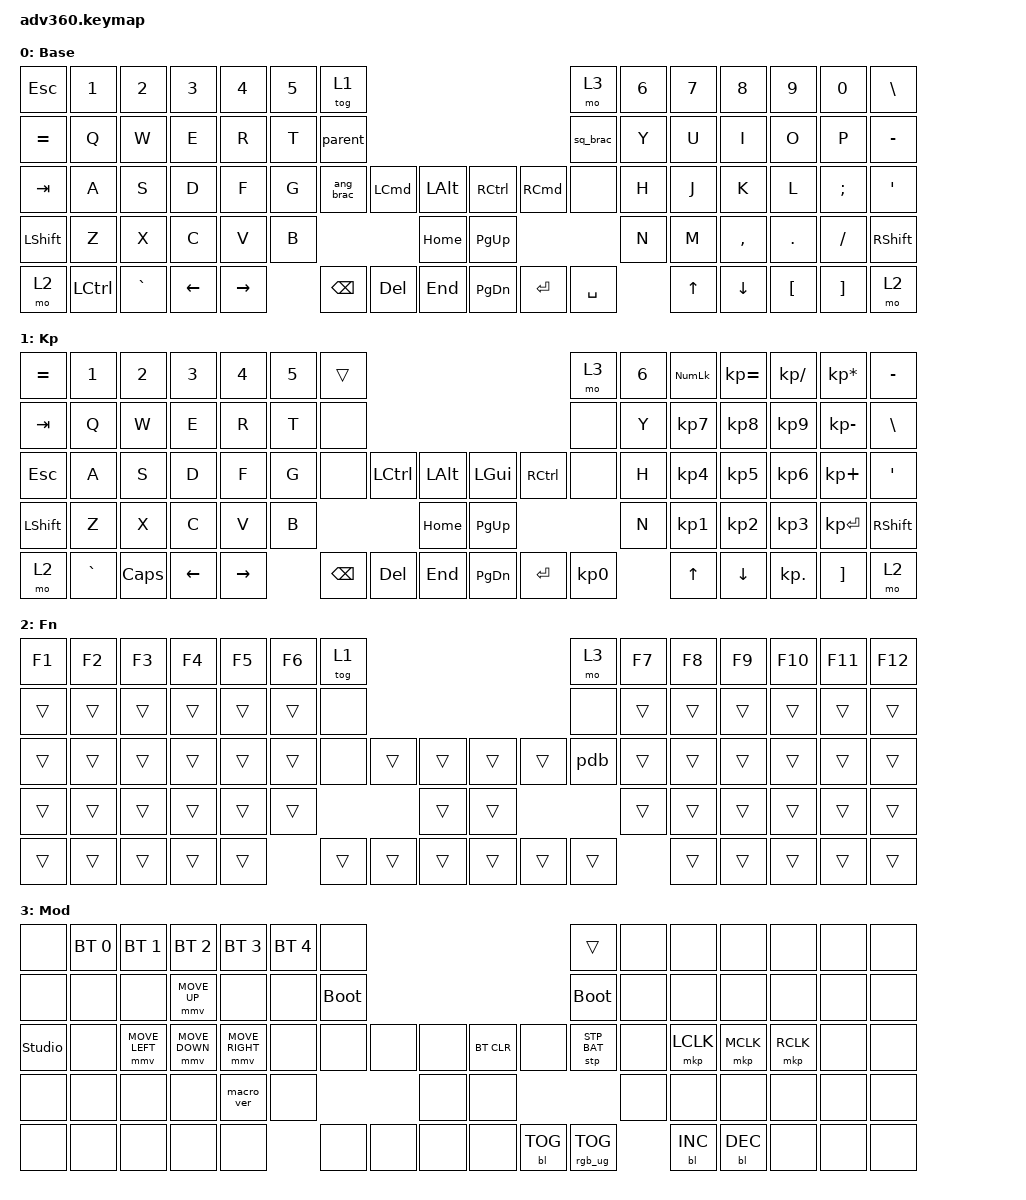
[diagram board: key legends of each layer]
#include <dt-bindings/zmk/stp.h>
#include <behaviors.dtsi>
#include <dt-bindings/zmk/backlight.h>
#include <dt-bindings/zmk/bt.h>
#include <dt-bindings/zmk/keys.h>
#include <dt-bindings/zmk/pointing.h>
#include <dt-bindings/zmk/rgb.h>

/ {
    behaviors {
        #include "macros.dtsi"
      #include "version.dtsi"

        hm: homerow_mods {
            compatible = "zmk,behavior-hold-tap";
            label = "HOMEROW_MODS";
            #binding-cells = <2>;
            tapping-term-ms = <200>;
            quick_tap_ms = <175>;
            flavor = "tap-preferred";
            bindings = <&kp>, <&kp>;
        };
    };

    macros {
        parent: parent {
            compatible = "zmk,behavior-macro";
            #binding-cells = <0>;
            bindings = <&kp LPAR &kp RPAR>;
            label = "PARENT";
        };

        sq_brac: sq_brac {
            compatible = "zmk,behavior-macro";
            #binding-cells = <0>;
            bindings = <&kp LBKT &kp RBKT>;
            label = "SQ_BRAC";
        };

        ang_brac: ang_brac {
            compatible = "zmk,behavior-macro";
            #binding-cells = <0>;
            bindings = <&kp LT &kp GT>;
            label = "ANG_BRAC";
        };

        brac: brac {
            compatible = "zmk,behavior-macro";
            #binding-cells = <0>;
            bindings = <&kp LBRC &kp RBRC>;
            label = "BRAC";
        };

        pdb: pdb {
            compatible = "zmk,behavior-macro";
            #binding-cells = <0>;
            bindings = <&kp I &kp M &kp P &kp O &kp R &kp T &kp SPACE &kp I &kp P &kp D &kp B &kp SEMI &kp SPACE &kp I &kp P &kp D &kp B &kp DOT &kp S &kp E &kp T &kp UNDER &kp T &kp R &kp A &kp C &kp E &kp LPAR &kp RPAR>;
            label = "PDB";
        };
    };

    keymap {
        compatible = "zmk,keymap";

        default_layer {
            display-name = "Base";
            bindings = <
&kp ESCAPE  &kp N1            &kp N2     &kp N3    &kp N4     &kp N5  &tog 1                                                                           &mo 3      &kp N6  &kp N7  &kp N8     &kp N9    &kp N0    &kp BACKSLASH
&kp EQUAL   &kp Q             &kp W      &kp E     &kp R      &kp T   &parent                                                                          &sq_brac   &kp Y   &kp U   &kp I      &kp O     &kp P     &kp MINUS
&kp TAB     &kp A             &kp S      &kp D     &kp F      &kp G   &ang_brac  &kp LEFT_COMMAND  &kp LALT      &kp RIGHT_CONTROL  &kp RIGHT_COMMAND  &none      &kp H   &kp J   &kp K      &kp L     &kp SEMI  &kp SQT
&kp LSHFT   &kp Z             &kp X      &kp C     &kp V      &kp B                                &kp HOME      &kp PG_UP                                        &kp N   &kp M   &kp COMMA  &kp DOT   &kp FSLH  &kp RSHFT
&mo 2       &kp LEFT_CONTROL  &kp GRAVE  &kp LEFT  &kp RIGHT          &kp BSPC   &kp DEL           &kp END       &kp PG_DN          &kp ENTER          &kp SPACE          &kp UP  &kp DOWN   &kp LBKT  &kp RBKT  &mo 2
            >;
        };

        keypad {
            display-name = "Kp";
            bindings = <
&kp EQUAL  &kp N1     &kp N2    &kp N3    &kp N4     &kp N5  &trans                                                   &mo 3      &kp N6  &kp KP_NUM  &kp KP_EQUAL  &kp KP_DIVIDE  &kp KP_MULTIPLY  &kp MINUS
&kp TAB    &kp Q      &kp W     &kp E     &kp R      &kp T   &none                                                    &none      &kp Y   &kp KP_N7   &kp KP_N8     &kp KP_N9      &kp KP_MINUS     &kp BSLH
&kp ESC    &kp A      &kp S     &kp D     &kp F      &kp G   &none     &kp LCTRL  &kp LALT      &kp LGUI   &kp RCTRL  &none      &kp H   &kp KP_N4   &kp KP_N5     &kp KP_N6      &kp KP_PLUS      &kp SQT
&kp LSHFT  &kp Z      &kp X     &kp C     &kp V      &kp B                        &kp HOME      &kp PG_UP                        &kp N   &kp KP_N1   &kp KP_N2     &kp KP_N3      &kp KP_ENTER     &kp RSHFT
&mo 2      &kp GRAVE  &kp CAPS  &kp LEFT  &kp RIGHT          &kp BSPC  &kp DEL    &kp END       &kp PG_DN  &kp ENTER  &kp KP_N0          &kp UP      &kp DOWN      &kp KP_DOT     &kp RBKT         &mo 2
            >;
        };

        fn {
            display-name = "Fn";
            bindings = <
&kp F1  &kp F2  &kp F3  &kp F4  &kp F5  &kp F6  &tog 1                                      &mo 3   &kp F7  &kp F8  &kp F9  &kp F10  &kp F11  &kp F12
&trans  &trans  &trans  &trans  &trans  &trans  &none                                       &none   &trans  &trans  &trans  &trans   &trans   &trans
&trans  &trans  &trans  &trans  &trans  &trans  &none   &trans  &trans      &trans  &trans  &pdb    &trans  &trans  &trans  &trans   &trans   &trans
&trans  &trans  &trans  &trans  &trans  &trans                  &trans      &trans                  &trans  &trans  &trans  &trans   &trans   &trans
&trans  &trans  &trans  &trans  &trans          &trans  &trans  &trans      &trans  &trans  &trans          &trans  &trans  &trans   &trans   &trans
            >;
        };

        mod {
            display-name = "Mod";
            bindings = <
&none           &bt BT_SEL 0  &bt BT_SEL 1    &bt BT_SEL 2    &bt BT_SEL 3     &bt BT_SEL 4  &none                                                  &trans           &none  &none       &none       &none      &none  &none
&none           &none         &none           &mmv MOVE_UP    &none            &none         &bootloader                                            &bootloader      &none  &none       &none       &none      &none  &none
&studio_unlock  &none         &mmv MOVE_LEFT  &mmv MOVE_DOWN  &mmv MOVE_RIGHT  &none         &none        &none  &none      &bt BT_CLR  &none       &stp STP_BAT     &none  &mkp LCLK   &mkp MCLK   &mkp RCLK  &none  &none
&none           &none         &none           &none           &macro_ver       &none                             &none      &none                                    &none  &none       &none       &none      &none  &none
&none           &none         &none           &none           &none                          &none        &none  &none      &none       &bl BL_TOG  &rgb_ug RGB_TOG         &bl BL_INC  &bl BL_DEC  &none      &none  &none
            >;
        };

        extra1 {
            display-name = "Red";
            status = "reserved";
        };

        extra2 {
            display-name = "Purple";
            status = "reserved";
        };

        extra3 {
            display-name = "Cyan";
            status = "reserved";
        };

        extra4 {
            display-name = "Yellow";
            status = "reserved";
        };
    };
};
